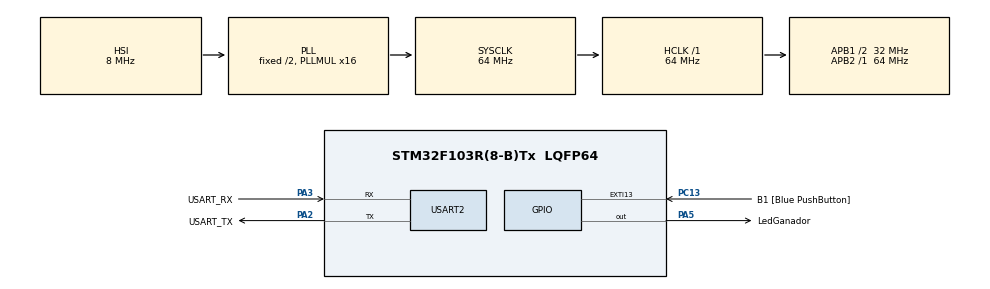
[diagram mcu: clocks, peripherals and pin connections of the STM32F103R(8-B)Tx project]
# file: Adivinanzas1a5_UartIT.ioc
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Mcu.Family=STM32F1
Mcu.Name=STM32F103R(8-B)Tx
Mcu.Package=LQFP64
NVIC.EXTI15_10_IRQn=true\:0\:0\:false\:false\:true\:true\:true\:true
NVIC.PriorityGroup=NVIC_PRIORITYGROUP_4
NVIC.USART2_IRQn=true\:0\:0\:false\:false\:true\:true\:true\:true
PA13.GPIO_Label=TMS
PA13.Mode=Serial_Wire
PA13.Signal=SYS_JTMS-SWDIO
PA14.GPIO_Label=TCK
PA14.Mode=Serial_Wire
PA14.Signal=SYS_JTCK-SWCLK
PA2.GPIO_Label=USART_TX
PA2.GPIO_Mode=GPIO_MODE_AF_PP
PA2.GPIO_PuPd=GPIO_NOPULL
PA2.GPIO_Speed=GPIO_SPEED_FREQ_LOW
PA2.Mode=Asynchronous
PA2.Signal=USART2_TX
PA3.GPIO_Label=USART_RX
PA3.GPIO_Mode=GPIO_MODE_AF_PP
PA3.GPIO_PuPd=GPIO_NOPULL
PA3.GPIO_Speed=GPIO_SPEED_FREQ_LOW
PA3.Mode=Asynchronous
PA3.Signal=USART2_RX
PA5.GPIO_Label=LedGanador
PA5.GPIO_ModeDefaultOutputPP=GPIO_MODE_OUTPUT_PP
PA5.GPIO_PuPd=GPIO_NOPULL
PA5.GPIO_Speed=GPIO_SPEED_FREQ_LOW
PA5.Signal=GPIO_Output
PB3.GPIO_Label=SWO
PB3.Signal=SYS_JTDO-TRACESWO
PC13-TAMPER-RTC.GPIO_Label=B1 [Blue PushButton]
PC13-TAMPER-RTC.GPIO_PuPd=GPIO_NOPULL
PC13-TAMPER-RTC.Signal=GPXTI13
PC14-OSC32_IN.Mode=LSE-External-Oscillator
PC14-OSC32_IN.Signal=RCC_OSC32_IN
PC15-OSC32_OUT.Mode=LSE-External-Oscillator
PC15-OSC32_OUT.Signal=RCC_OSC32_OUT
PD0-OSC_IN.Mode=HSE-External-Clock-Source
PD0-OSC_IN.Signal=RCC_OSC_IN
PD1-OSC_OUT.Mode=HSE-External-Clock-Source
PD1-OSC_OUT.Signal=RCC_OSC_OUT
ProjectManager.HeapSize=0x200
ProjectManager.StackSize=0x400
ProjectManager.TargetToolchain=STM32CubeIDE
RCC.AHBFreq_Value=64000000
RCC.APB1CLKDivider=RCC_HCLK_DIV2
RCC.APB1Freq_Value=32000000
RCC.APB1TimFreq_Value=64000000
RCC.APB2Freq_Value=64000000
RCC.APB2TimFreq_Value=64000000
RCC.HCLKFreq_Value=64000000
RCC.PLLMUL=RCC_PLL_MUL16
RCC.RTCClockSelection=RCC_RTCCLKSOURCE_LSE
RCC.SYSCLKFreq_VALUE=64000000
RCC.SYSCLKSource=RCC_SYSCLKSOURCE_PLLCLK
RCC.USBFreq_Value=64000000
USART2.VirtualMode=VM_ASYNC
board=NUCLEO-F103RB

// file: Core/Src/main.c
/* USER CODE BEGIN Header */
/**
  ******************************************************************************
  * @file           : main.c
  * @brief          : Main program body
  ******************************************************************************
  * @attention
  *
  * Copyright (c) 2022 STMicroelectronics.
  * All rights reserved.
  *
  * This software is licensed under terms that can be found in the LICENSE file
  * in the root directory of this software component.
  * If no LICENSE file comes with this software, it is provided AS-IS.
  *
  ******************************************************************************
  * Juego de las adivinanzas
  * Javier Soto - 2022/11/24
  *
  * Ejemplo de como usar la interrupción usando UART, asi como de lectura del
  * SysTick timer para generación de número base para el juego de las adivinanzas.
  * Desarrollado para una tarjeta NUCLE0-F103RB.
  *
  * Caracteristicas adicionales
  * - El sistema genera eco local de los caracteres recibidos
  * - Es necesario que el usuario deshabilite la opcion de eco local en su terminal
  * - Asegurese que su terminal use 'Control-H' (0x08) como 'Backspace'
  * - Se puede usar el Backspace para borrar datos ingresados.
  * - El nombre se tomara automaticamente cuando el buffer de nombre este lleno
  * - El numero tiene un limite maximo de caracteres, no se recibiran mas hasta que se ingrese Enter
  * - Use la tecla 'Esc' para reiniciar la aplicacion
  *
  * Referencias adicionales:
  * - https://www.asciiart.eu/
  * - https://codegolf.stackexchange.com/questions/16587/print-a-smiley-face
  ******************************************************************************
  */
/* USER CODE END Header */
#include "main.h"

/* USER CODE BEGIN Includes */
#include "PrintFunctions.h"
#include <stdlib.h>

/* USER CODE END Includes */

UART_HandleTypeDef huart2;

void SystemClock_Config(void);
static void MX_GPIO_Init(void);
static void MX_USART2_UART_Init(void);

/* USER CODE BEGIN 0 */
/**
 * @brief buffer name
 */
#define BUFFER_NAME_SIZE 20
#define BUFFER_NUMBER_SIZE 10

char bufRx[1];                          //Buffer para recepcion de caracteres por serial
char bufferName[BUFFER_NAME_SIZE];      //Buffer para el nombre del participante
char bufferNumber[BUFFER_NUMBER_SIZE];  //Buffer para el numero
uint8_t indexBuf;                       //indice para llenado de buffers

uint8_t bufferFullFlag;     //Bandera que indica cuando un buffer esta lleno (e.g. se recibio el enter)
uint8_t flagEsc;            //Bandera que indica cuando se recibio la tecla 'Esc'

/**
 * Estados para maquina de estados del MAIN
 */
typedef enum EStatesMain {
    MAIN_INIT_AND_REQUEST_NAME,
    MAIN_WAIT_NAME,
    MAIN_REQUEST_NUMBER,
    MAIN_WAIT_NUMBER,
    MAIN_EXECUTE_RIDDLE
} EStatesMain;
/**
 * Estados para maquina de estados de la interrupción
 */
typedef enum EStatesIRQ {
    IRQ_IDLE,
    IRQ_RX_NAME,
    IRQ_RX_NUMBER
} EStatesIRQ;
enum EStatesIRQ statesIrq = IRQ_IDLE;   //Maquina de estados de la interrupción

/* USER CODE END 0 */

int main(void)
{

  /* MCU Configuration--------------------------------------------------------*/

  /* Reset of all peripherals, Initializes the Flash interface and the Systick. */
  HAL_Init();

  /* Configure the system clock */
  SystemClock_Config();

  /* Initialize all configured peripherals */
  MX_GPIO_Init();
  MX_USART2_UART_Init();
  /* USER CODE BEGIN 2 */

  //HAL_StatusTypeDef UART_Start_Receive_IT(UART_HandleTypeDef *huart2, uint8_t *pData, uint16_t Size);

  HAL_UART_Receive_IT (&huart2, (uint8_t*)bufRx, sizeof(bufRx)); //Habilita IRQ por recepción de la UART

  enum EStatesMain statesMain;      //Maquina de estados del MAIN

  flagEsc = 1; //Emula un reset (ESC) como condicion inicial (inicializacion)

  /* USER CODE END 2 */

  /* Infinite loop */
  /* USER CODE BEGIN WHILE */
  while (1)
  {
      char buf[100];
    /* USER CODE END WHILE */

    /* USER CODE BEGIN 3 */
    if (flagEsc) { //Reiniciar
        memset(bufferName, 0x0, sizeof(bufferName));
        memset(bufferNumber, 0x0, sizeof(bufferNumber));
        flagEsc = 0;
        statesMain = MAIN_INIT_AND_REQUEST_NAME;
        statesIrq = IRQ_IDLE;
        bufferFullFlag = 0;
        indexBuf = 0;

    } else switch (statesMain){

        case MAIN_INIT_AND_REQUEST_NAME:
            printLine("\x1b[2J"); //Clear the screen
            printLine("****************************************************************");
            printLine("* Universidad Escuela Colombiana de Ingenieria Julio Garavito  *");
            printLine("* DMIC - Javier Soto - 2022                                    *");
            printLine("* Juego 'JUGUEMOS A LAS ADIVINANZAS' - UART con Interrupciones *");
            printLine("* Desarrollado para una tarjeta NUCLE0-F103RB                  *");
            printLine("****************************************************************");
            printLine("");
            printLine("- El sistema genera eco local de los caracteres recibidos");
            printLine("- Deshabilite la opcion de eco local en su terminal");
            printLine("- Asegurese que su terminal use 'Control-H' (0x08) como 'Backspace'");
            printLine("- Utilice el Backspace para borrar datos ingresados.");
            printLine("- El nombre se tomara automaticamente cuando el buffer este lleno");
            printLine("- El numero tiene un limite maximo de caracteres");
            printLine("- Use la tecla 'Esc' para reiniciar la aplicacion");
            printLine("");
            printLine("Ingrese su nombre: ");
            statesIrq = IRQ_RX_NAME;
            statesMain = MAIN_WAIT_NAME;
            break;

        case MAIN_WAIT_NAME:
            if (bufferFullFlag) {
                statesMain = MAIN_REQUEST_NUMBER;
                bufferFullFlag = 0;
            }
            break;

        case MAIN_REQUEST_NUMBER:
            memset(bufferNumber, 0x0, sizeof(bufferNumber));
            indexBuf = 0;
            //
            printLine("");
            printLine("***************************************************************");
            snprintf(buf, sizeof(buf), "* %s, Juguemos a las ADIVINANZAS !!", bufferName);
            printLine(buf);
            printLine("***************************************************************");
            printLine("");
            printLine("Ingrese un numero entre 1 y 5, presione enter: ");
            //
            statesIrq = IRQ_RX_NUMBER;
            statesMain = MAIN_WAIT_NUMBER;
            break;

        case MAIN_WAIT_NUMBER:
            if (bufferFullFlag) {
                statesMain = MAIN_EXECUTE_RIDDLE;
                statesIrq = IRQ_IDLE;
                bufferFullFlag = 0;
            }
            break;

        case MAIN_EXECUTE_RIDDLE:
        {
            int numUsuario = atoi((char*)bufferNumber);
            //
            if (numUsuario < 1 || numUsuario > 5) {
                ImprimirError();
                HAL_GPIO_WritePin(LedGanador_GPIO_Port, LedGanador_Pin, GPIO_PIN_RESET); //Poner a 0 Led Ganador
            } else {
                //uint32_t numSistema = (g_lfsrValue % 5) + 1;
                uint32_t ticks = HAL_GetTick();
                uint32_t numSistema = (ticks % 5) + 1;

                printLine("");
                printTextValue("Numero de ticks: ", ticks);
                printTextValue("Numero de usuario: ", numUsuario);
                printTextValue("Numero de sistema: ", numSistema);
                printLine("");
                //
                if (numUsuario == numSistema) {
                    ImprimirMensajeGanador(bufferName);
                    //int sm = 1;
                    //printf("%c ",sm);
                    HAL_GPIO_WritePin(LedGanador_GPIO_Port, LedGanador_Pin, GPIO_PIN_SET); //Poner a 1 Led Ganador
                } else {
                    ImprimirMensajeNoGanador();
                    HAL_GPIO_WritePin(LedGanador_GPIO_Port, LedGanador_Pin, GPIO_PIN_RESET); //Poner a 0 Led Ganador
                }
            }
            statesMain = MAIN_REQUEST_NUMBER;
            break;
        }
    } //switch
    HAL_Delay(10); //Evalua maquina de estados cada 10 m
  }// while

  /* USER CODE END 3 */
} // main

void SystemClock_Config(void)
{
  RCC_OscInitTypeDef RCC_OscInitStruct = {0};
  RCC_ClkInitTypeDef RCC_ClkInitStruct = {0};

  /** Initializes the RCC Oscillators according to the specified parameters
  * in the RCC_OscInitTypeDef structure.
  */
  RCC_OscInitStruct.OscillatorType = RCC_OSCILLATORTYPE_HSI;
  RCC_OscInitStruct.HSIState = RCC_HSI_ON;
  RCC_OscInitStruct.HSICalibrationValue = RCC_HSICALIBRATION_DEFAULT;
  RCC_OscInitStruct.PLL.PLLState = RCC_PLL_ON;
  RCC_OscInitStruct.PLL.PLLSource = RCC_PLLSOURCE_HSI_DIV2;
  RCC_OscInitStruct.PLL.PLLMUL = RCC_PLL_MUL16;
  if (HAL_RCC_OscConfig(&RCC_OscInitStruct) != HAL_OK)
  {
    Error_Handler();
  }

  /** Initializes the CPU, AHB and APB buses clocks
  */
  RCC_ClkInitStruct.ClockType = RCC_CLOCKTYPE_HCLK|RCC_CLOCKTYPE_SYSCLK
                              |RCC_CLOCKTYPE_PCLK1|RCC_CLOCKTYPE_PCLK2;
  RCC_ClkInitStruct.SYSCLKSource = RCC_SYSCLKSOURCE_PLLCLK;
  RCC_ClkInitStruct.AHBCLKDivider = RCC_SYSCLK_DIV1;
  RCC_ClkInitStruct.APB1CLKDivider = RCC_HCLK_DIV2;
  RCC_ClkInitStruct.APB2CLKDivider = RCC_HCLK_DIV1;

  if (HAL_RCC_ClockConfig(&RCC_ClkInitStruct, FLASH_LATENCY_2) != HAL_OK)
  {
    Error_Handler();
  }
}

static void MX_USART2_UART_Init(void)
{

  huart2.Instance = USART2;
  huart2.Init.BaudRate = 115200;
  huart2.Init.WordLength = UART_WORDLENGTH_8B;
  huart2.Init.StopBits = UART_STOPBITS_1;
  huart2.Init.Parity = UART_PARITY_NONE;
  huart2.Init.Mode = UART_MODE_TX_RX;
  huart2.Init.HwFlowCtl = UART_HWCONTROL_NONE;
  huart2.Init.OverSampling = UART_OVERSAMPLING_16;
  if (HAL_UART_Init(&huart2) != HAL_OK)
  {
    Error_Handler();
  }

}

static void MX_GPIO_Init(void)
{
  GPIO_InitTypeDef GPIO_InitStruct = {0};

  /* GPIO Ports Clock Enable */
  __HAL_RCC_GPIOC_CLK_ENABLE();
  __HAL_RCC_GPIOD_CLK_ENABLE();
  __HAL_RCC_GPIOA_CLK_ENABLE();
  __HAL_RCC_GPIOB_CLK_ENABLE();

  /*Configure GPIO pin Output Level */
  HAL_GPIO_WritePin(LedGanador_GPIO_Port, LedGanador_Pin, GPIO_PIN_RESET);

  /*Configure GPIO pin : B1_Pin */
  GPIO_InitStruct.Pin = B1_Pin;
  GPIO_InitStruct.Mode = GPIO_MODE_IT_RISING;
  GPIO_InitStruct.Pull = GPIO_NOPULL;
  HAL_GPIO_Init(B1_GPIO_Port, &GPIO_InitStruct);

  /*Configure GPIO pin : LedGanador_Pin */
  GPIO_InitStruct.Pin = LedGanador_Pin;
  GPIO_InitStruct.Mode = GPIO_MODE_OUTPUT_PP;
  GPIO_InitStruct.Pull = GPIO_NOPULL;
  GPIO_InitStruct.Speed = GPIO_SPEED_FREQ_LOW;
  HAL_GPIO_Init(LedGanador_GPIO_Port, &GPIO_InitStruct);

  /* EXTI interrupt init*/
  HAL_NVIC_SetPriority(EXTI15_10_IRQn, 0, 0);
  HAL_NVIC_EnableIRQ(EXTI15_10_IRQn);

}

/* USER CODE BEGIN 4 */
/**
 *
 */
void HAL_UART_RxCpltCallback(UART_HandleTypeDef *huart) {

    if (huart->Instance == USART2) {
        //
        uint8_t echoFlag = 0;
        uint8_t backspaceFlag = 0;
        //
        if (bufRx[0] == 0x1B) { //Esc
            flagEsc = 1;
        } else switch (statesIrq) {

            case IRQ_IDLE:
                //No hace nada, descarta caracter recibido
                break;

            case IRQ_RX_NAME:   //recibiendo nombre
                //Almacenar caracter en buffer
                if (bufRx[0] == 0xA || bufRx[0] == 0xD) { //Enter
                    bufferFullFlag = 1;
                    echoFlag = 1;
                } else if (bufRx[0] == 0x8) { //backspace
                    if (indexBuf > 0) {
                        bufferName[--indexBuf] = '\0';
                        backspaceFlag = 1;
                    }
                } else if (indexBuf < BUFFER_NAME_SIZE - 1) {
                    bufferName[indexBuf++] = bufRx[0];
                    echoFlag = 1;
                }
                //Ejecutar accion si buffer esta lleno
                if (indexBuf >= BUFFER_NAME_SIZE - 1) {
                    bufferFullFlag = 1;
                    printLine("Buffer is full");
                }
                break;

            case IRQ_RX_NUMBER: //recibiendo numero
                //Almacenar caracter en buffer
                if (bufRx[0] == 0xA || bufRx[0] == 0xD) { //Enter
                    bufferFullFlag = 1;
                    echoFlag = 1;
                } else if (bufRx[0] == 0x8) { //backspace
                    if (indexBuf > 0) {
                        bufferNumber[--indexBuf] = '\0';
                        backspaceFlag = 1;
                    }
                }else if (indexBuf < BUFFER_NUMBER_SIZE - 1) {
                    bufferNumber[indexBuf++] = bufRx[0];
                    echoFlag = 1;
                }
                //Borrar caracter si buffer esta lleno
                if (indexBuf >= BUFFER_NAME_SIZE - 1) {
                    bufferNumber[--indexBuf] = '\0';
                    backspaceFlag = 1;
                }
                break;
        }
        if (backspaceFlag) {    //Borrar a caracter recibido
            HAL_UART_Transmit(&huart2, (uint8_t*)"\b \b", 3, 0xFFFF);
        }
        if (echoFlag) {         //Eco a caracter recibido
            HAL_UART_Transmit(&huart2, (uint8_t*)bufRx, sizeof(bufRx), 0xFFFF);
        }
        //Habilitar interrupcion por recepcion
        HAL_UART_Receive_IT(&huart2, (uint8_t*)bufRx, sizeof(bufRx));
    }
}

//void HAL_UARTEx_RxEventCallback()

/* USER CODE END 4 */

void Error_Handler(void)
{
  __disable_irq();
  while (1)
  {
  }
}
